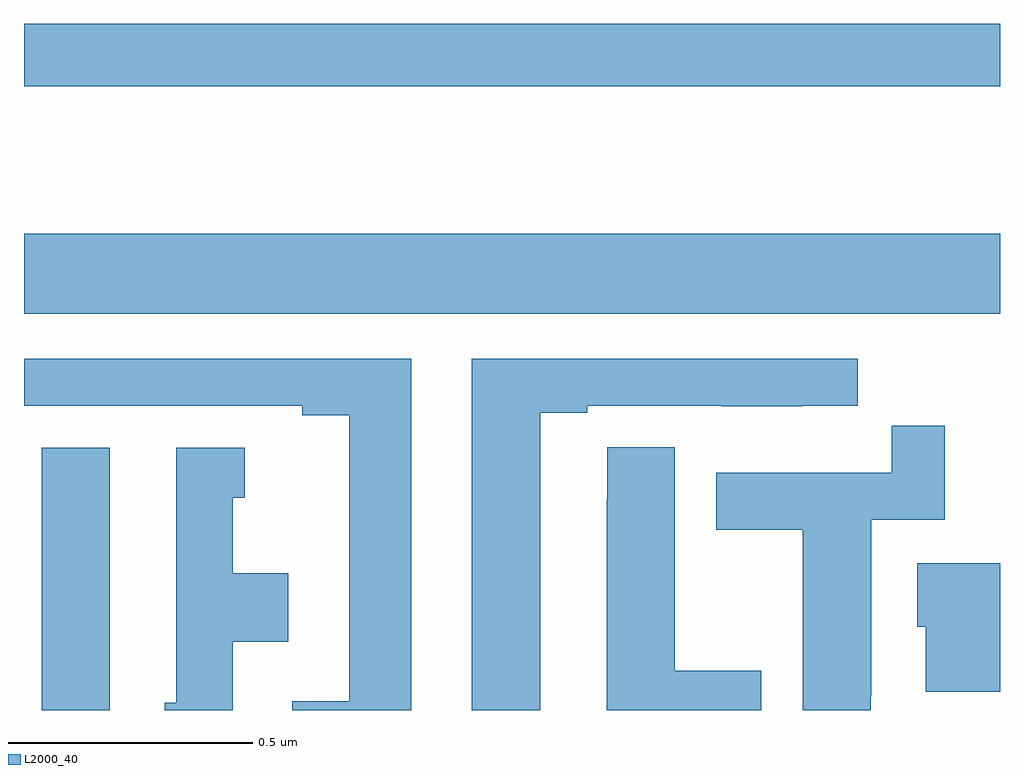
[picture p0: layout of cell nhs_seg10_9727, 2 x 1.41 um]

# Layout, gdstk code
import gdstk
lib = gdstk.Library(unit=1e-6, precision=1e-09)
def R(c, l, rs):  # rectangles x0, y0, x1, y1
    for r in rs: c.add(gdstk.rectangle(r[:2], r[2:], *l))
def P(c, l, *ps):  # polygons
    for p in ps: c.add(gdstk.Polygon(p, *l))
L2000_40 = (2000, 40)

nhs_seg10_9727 = lib.new_cell('nhs_seg10_9727')
R(nhs_seg10_9727, L2000_40, [(233.036,1303.5,233.176,1304.038), (233,1304.312,235,1304.476), (233,1304.778,235,1304.906)])
P(nhs_seg10_9727, L2000_40, [(234.058,1304.109),(234.154,1304.109),(234.154,1304.124),(234.43,1304.124),(234.43,1304.123),(234.596,1304.123),(234.596,1304.124),(234.709,1304.124),(234.709,1304.22),(233.918,1304.22),(233.918,1303.5),(234.058,1303.5)],
  [(233.794,1304.22),(233,1304.22),(233,1304.124),(233.57,1304.124),(233.57,1304.104),(233.666,1304.104),(233.666,1303.518),(233.55,1303.518),(233.55,1303.5),(233.794,1303.5)],
  [(234.735,1303.528),(234.736,1303.528),(234.736,1303.89),(234.887,1303.89),(234.887,1304.083),(234.778,1304.083),(234.778,1303.986),(234.419,1303.986),(234.419,1303.87),(234.596,1303.87),(234.596,1303.5),(234.735,1303.5)],
  [(234.511,1303.581),(234.334,1303.581),(234.334,1304.039),(234.195,1304.039),(234.195,1303.931),(234.194,1303.931),(234.194,1303.5),(234.511,1303.5)],
  [(233.428,1303.64),(233.542,1303.64),(233.542,1303.78),(233.428,1303.78),(233.428,1303.935),(233.452,1303.935),(233.452,1304.038),(233.312,1304.038),(233.312,1303.515),(233.288,1303.515),(233.288,1303.5),(233.428,1303.5)],
  [(235,1303.801),(234.83,1303.801),(234.83,1303.671),(234.848,1303.671),(234.848,1303.538),(235,1303.538)])

lib.write_gds('nhs_seg10_9727.gds')
